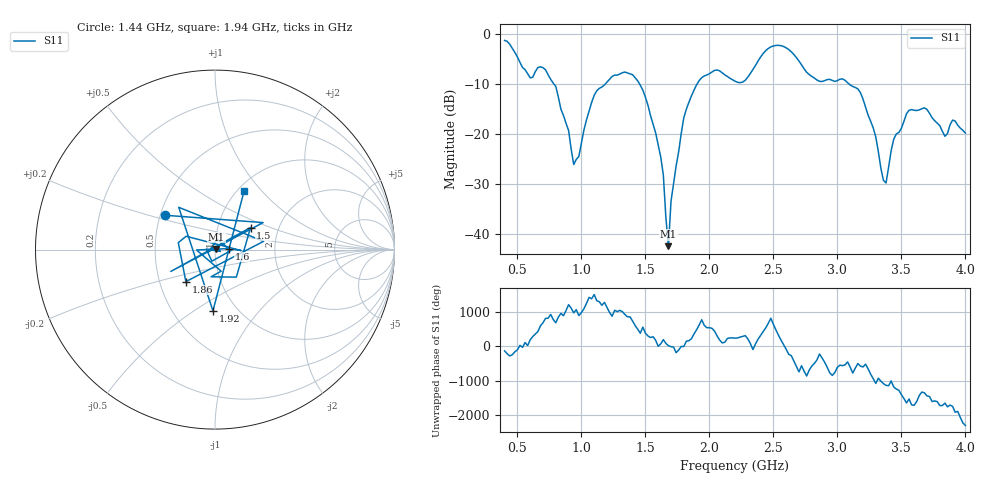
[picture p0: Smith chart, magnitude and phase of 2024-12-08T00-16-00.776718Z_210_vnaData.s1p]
!Created with skrf (http://scikit-rf.org).
# Hz S RI R 50.0
!freq ReS11 ImS11
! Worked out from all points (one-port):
!   181 points, 400 MHz to 4 GHz, reference 50 ohm
!   lowest |S11| = -42.3 dB at 1.68 GHz (marker M1), VSWR 1.02, Z = 50.7 + j0.287 ohm
!   |S11| at or under -10 dB: 784.8 MHz to 1.187 GHz (401.8 MHz wide, 40.8 % of centre); 1.454 GHz to 1.904 GHz (449.6 MHz wide, 26.8 % of centre); 3.091 GHz to end of sweep
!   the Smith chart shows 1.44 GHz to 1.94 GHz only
!   S11 on the Smith chart (normalised r, x): 1.44 GHz: 0.53, +0.23; 1.5 GHz: 1.44, +0.37; 1.6 GHz: 1.17, +0.01; 1.86 GHz: 0.68, -0.26; 1.92 GHz: 0.78, -0.60; 1.94 GHz: 1.07, +0.81
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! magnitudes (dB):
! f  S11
! 400 MHz  -1.3
! 600 MHz  -8.8
! 720 MHz  -7.2
! 860 MHz  -16.3
! 940 MHz  -26.1
! 1.1 GHz  -12.3
! 1.3 GHz  -8.0
! 1.44 GHz  -9.4
! 1.5 GHz  -12.6
! 1.6 GHz  -22.2
! 1.64 GHz  -28.1
! 1.68 GHz  -42.3
! 1.7 GHz  -33.4
! 1.76 GHz  -23.5
! 1.8 GHz  -16.7
! 1.86 GHz  -12.4
! 1.92 GHz  -9.3
! 1.94 GHz  -8.7
! 2.2 GHz  -9.4
! 2.48 GHz  -2.6
! 2.66 GHz  -4.1
! 2.84 GHz  -9.2
! 3.1 GHz  -10.2
! 3.2 GHz  -13.0
! 3.38 GHz  -29.7
! 3.44 GHz  -21.0
! 3.56 GHz  -15.2
! 4 GHz  -19.8
